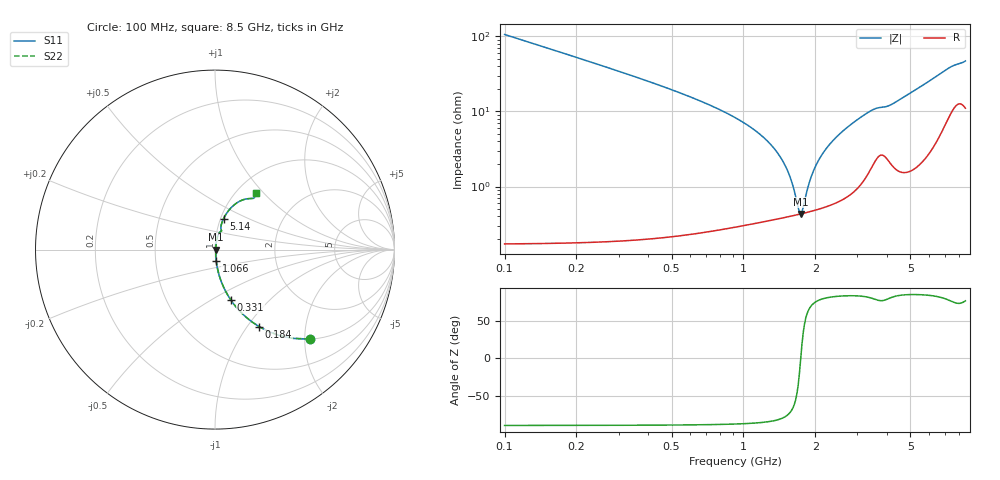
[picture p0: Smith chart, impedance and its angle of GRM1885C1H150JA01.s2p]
!Murata Part Number: GRM1885C1H150JA01
!These Parameters are Measured in Series Mode Connection
!Data Generated on Mar 30, 2021
!  o--ll--o
!Port1  Port2
!  o------o
!Operation Temp=25[degC], DC Bias Voltage=0[V]
!Freq. Start=100[MHz] Stop=9[GHz] 401[Steps]
# Hz S RI R 50
!Freq.(Hz) S11(Real) S11(Imag) S21(Real) S21(Imag) S12(Real) S12(Imag) S22(Real) S22(Imag)
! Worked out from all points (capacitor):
!   401 points, 100 MHz to 8.5 GHz, reference 50 ohm
!   read as one part in series: C = 15 pF near 142 MHz
!   lowest |Z| = 432 mohm at 1.738 GHz (marker M1)
!   series resonance near 1.738 GHz, so ESL is about 560 pH
!   S11 on the Smith chart (normalised r, x): 100 MHz: 1.00, -2.11; 184 MHz: 1.00, -1.14; 331 MHz: 1.00, -0.62; 1.066 GHz: 1.01, -0.12; 5.14 GHz: 1.03, +0.37; 8.5 GHz: 1.22, +0.91
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1e8  0.5279 -0.4984  0.4721 0.4984  0.4721 0.4984  0.5279 -0.4984
1.84e8  0.246 -0.4291  0.754 0.4291  0.754 0.4291  0.246 -0.4291
3.31e8  0.0885 -0.281  0.9115 0.281  0.9115 0.281  0.0885 -0.281
6.04e8  0.0254 -0.1501  0.9746 0.1501  0.9746 0.1501  0.0254 -0.1501
1.066e9  0.00694 -0.0616  0.9931 0.0616  0.9931 0.0616  0.00694 -0.0616
1.318e9  0.00473 -0.0342  0.9953 0.0342  0.9953 0.0342  0.00473 -0.0342
1.507e9  0.00419 -0.0175  0.9958 0.0175  0.9958 0.0175  0.00419 -0.0175
1.591e9  0.00415 -0.0109  0.9959 0.0109  0.9959 0.0109  0.00415 -0.0109
1.696e9  0.00423 -0.00301  0.9958 0.00301  0.9958 0.00301  0.00423 -0.00301
1.738e9  0.0043 5.4e-06  0.9957 -5.4e-06  0.9957 -5.4e-06  0.0043 5.4e-06
1.78e9  0.00438 0.00296  0.9956 -0.00296  0.9956 -0.00296  0.00438 0.00296
1.864e9  0.00461 0.00868  0.9954 -0.00868  0.9954 -0.00868  0.00461 0.00868
1.948e9  0.00491 0.0142  0.9951 -0.0142  0.9951 -0.0142  0.00491 0.0142
2.137e9  0.00581 0.0261  0.9942 -0.0261  0.9942 -0.0261  0.00581 0.0261
2.452e9  0.00805 0.0446  0.992 -0.0446  0.992 -0.0446  0.00805 0.0446
2.914e9  0.0136 0.0705  0.9864 -0.0705  0.9864 -0.0705  0.0136 0.0705
3.481e9  0.0288 0.0986  0.9712 -0.0986  0.9712 -0.0986  0.0288 0.0986
4.3e9  0.0328 0.1233  0.9672 -0.1233  0.9672 -0.1233  0.0328 0.1233
5.14e9  0.048 0.1732  0.952 -0.1732  0.952 -0.1732  0.048 0.1732
5.707e9  0.0682 0.2074  0.9318 -0.2074  0.9318 -0.2074  0.0682 0.2074
7.114e9  0.1617 0.2792  0.8383 -0.2792  0.8383 -0.2792  0.1617 0.2792
8.5e9  0.2297 0.3169  0.7703 -0.3169  0.7703 -0.3169  0.2297 0.3169
